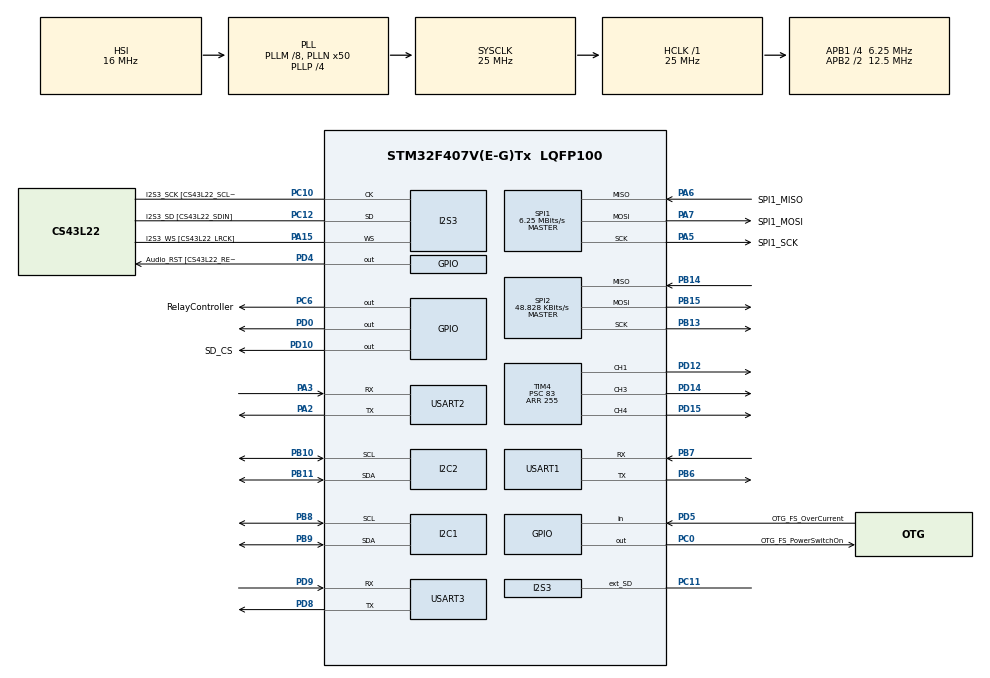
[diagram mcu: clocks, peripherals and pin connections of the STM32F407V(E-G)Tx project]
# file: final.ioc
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Dma.I2S3_EXT_RX.1.Direction=DMA_PERIPH_TO_MEMORY
Dma.I2S3_EXT_RX.1.FIFOMode=DMA_FIFOMODE_DISABLE
Dma.I2S3_EXT_RX.1.Instance=DMA1_Stream2
Dma.I2S3_EXT_RX.1.MemDataAlignment=DMA_MDATAALIGN_BYTE
Dma.I2S3_EXT_RX.1.MemInc=DMA_MINC_ENABLE
Dma.I2S3_EXT_RX.1.Mode=DMA_NORMAL
Dma.I2S3_EXT_RX.1.PeriphDataAlignment=DMA_PDATAALIGN_BYTE
Dma.I2S3_EXT_RX.1.PeriphInc=DMA_PINC_DISABLE
Dma.I2S3_EXT_RX.1.Priority=DMA_PRIORITY_LOW
Dma.Request0=SPI3_TX
Dma.Request1=I2S3_EXT_RX
Dma.Request2=USART3_RX
Dma.SPI3_TX.0.Direction=DMA_MEMORY_TO_PERIPH
Dma.SPI3_TX.0.FIFOMode=DMA_FIFOMODE_DISABLE
Dma.SPI3_TX.0.Instance=DMA1_Stream5
Dma.SPI3_TX.0.MemDataAlignment=DMA_MDATAALIGN_BYTE
Dma.SPI3_TX.0.MemInc=DMA_MINC_ENABLE
Dma.SPI3_TX.0.Mode=DMA_NORMAL
Dma.SPI3_TX.0.PeriphDataAlignment=DMA_PDATAALIGN_BYTE
Dma.SPI3_TX.0.PeriphInc=DMA_PINC_DISABLE
Dma.SPI3_TX.0.Priority=DMA_PRIORITY_LOW
Dma.USART3_RX.2.Direction=DMA_PERIPH_TO_MEMORY
Dma.USART3_RX.2.FIFOMode=DMA_FIFOMODE_DISABLE
Dma.USART3_RX.2.Instance=DMA1_Stream1
Dma.USART3_RX.2.MemDataAlignment=DMA_MDATAALIGN_BYTE
Dma.USART3_RX.2.MemInc=DMA_MINC_ENABLE
Dma.USART3_RX.2.Mode=DMA_NORMAL
Dma.USART3_RX.2.PeriphDataAlignment=DMA_PDATAALIGN_BYTE
Dma.USART3_RX.2.PeriphInc=DMA_PINC_DISABLE
Dma.USART3_RX.2.Priority=DMA_PRIORITY_LOW
I2S3.AudioFreq=I2S_AUDIOFREQ_16K
I2S3.ErrorAudioFreq=0.0 %
I2S3.FullDuplexMode=I2S_FULLDUPLEXMODE_ENABLE
I2S3.Instance=SPI$Index
I2S3.RealAudioFreq=16.0 KHz
I2S3.VirtualMode=I2S_MODE_MASTER
Mcu.Family=STM32F4
Mcu.Name=STM32F407V(E-G)Tx
Mcu.Package=LQFP100
NVIC.DMA1_Stream1_IRQn=true\:0\:0\:false\:false\:true\:false\:true\:true
NVIC.DMA1_Stream2_IRQn=true\:0\:0\:false\:false\:true\:false\:true\:true
NVIC.DMA1_Stream5_IRQn=true\:0\:0\:false\:false\:true\:false\:true\:true
NVIC.PriorityGroup=NVIC_PRIORITYGROUP_4
NVIC.TIM2_IRQn=true\:15\:0\:false\:false\:true\:false\:true\:true
NVIC.TimeBase=TIM2_IRQn
NVIC.TimeBaseIP=TIM2
NVIC.USART3_IRQn=true\:15\:0\:true\:false\:true\:true\:true\:true
PA10.GPIO_Label=OTG_FS_ID
PA10.GPIO_Mode=GPIO_MODE_AF_PP
PA10.GPIO_PuPd=GPIO_NOPULL
PA10.GPIO_Speed=GPIO_SPEED_FREQ_LOW
PA10.Signal=USB_OTG_FS_ID
PA13.GPIO_Label=SWDIO
PA13.Mode=Serial_Wire
PA13.Signal=SYS_JTMS-SWDIO
PA14.GPIO_Label=SWCLK
PA14.Mode=Serial_Wire
PA14.Signal=SYS_JTCK-SWCLK
PA15.GPIO_Label=I2S3_WS [CS43L22_LRCK]
PA15.GPIO_Mode=GPIO_MODE_AF_PP
PA15.GPIO_PuPd=GPIO_NOPULL
PA15.GPIO_Speed=GPIO_SPEED_FREQ_LOW
PA15.Mode=Full_Duplex_Master
PA15.Signal=I2S3_WS
PA2.Mode=Asynchronous
PA2.Signal=USART2_TX
PA3.Mode=Asynchronous
PA3.Signal=USART2_RX
PA5.GPIO_Label=SPI1_SCK
PA5.GPIO_Mode=GPIO_MODE_AF_PP
PA5.GPIO_PuPd=GPIO_NOPULL
PA5.GPIO_Speed=GPIO_SPEED_FREQ_LOW
PA5.Mode=Full_Duplex_Master
PA5.Signal=SPI1_SCK
PA6.GPIO_Label=SPI1_MISO
PA6.GPIO_Mode=GPIO_MODE_AF_PP
PA6.GPIO_PuPd=GPIO_NOPULL
PA6.GPIO_Speed=GPIO_SPEED_FREQ_LOW
PA6.Mode=Full_Duplex_Master
PA6.Signal=SPI1_MISO
PA7.GPIO_Label=SPI1_MOSI
PA7.GPIO_Mode=GPIO_MODE_AF_PP
PA7.GPIO_PuPd=GPIO_NOPULL
PA7.GPIO_Speed=GPIO_SPEED_FREQ_LOW
PA7.Mode=Full_Duplex_Master
PA7.Signal=SPI1_MOSI
PA9.GPIO_Label=VBUS_FS
PA9.GPIO_Mode=GPIO_MODE_INPUT
PA9.GPIO_PuPd=GPIO_NOPULL
PA9.Signal=USB_OTG_FS_VBUS
PB10.Mode=I2C
PB10.Signal=I2C2_SCL
PB11.Mode=I2C
PB11.Signal=I2C2_SDA
PB13.Mode=Full_Duplex_Master
PB13.Signal=SPI2_SCK
PB14.Mode=Full_Duplex_Master
PB14.Signal=SPI2_MISO
PB15.Mode=Full_Duplex_Master
PB15.Signal=SPI2_MOSI
PB3.GPIO_Label=SWO
PB3.Signal=SYS_JTDO-SWO
PB6.Mode=Asynchronous
PB6.Signal=USART1_TX
PB7.Mode=Asynchronous
PB7.Signal=USART1_RX
PB8.Mode=I2C
PB8.Signal=I2C1_SCL
PB9.Mode=I2C
PB9.Signal=I2C1_SDA
PC0.GPIO_Label=OTG_FS_PowerSwitchOn
PC0.GPIO_PuPd=GPIO_NOPULL
PC0.GPIO_Speed=GPIO_SPEED_FREQ_LOW
PC0.PinState=GPIO_PIN_SET
PC0.Signal=GPIO_Output
PC10.GPIO_Label=I2S3_SCK [CS43L22_SCLK]
PC10.GPIO_Mode=GPIO_MODE_AF_PP
PC10.GPIO_PuPd=GPIO_NOPULL
PC10.GPIO_Speed=GPIO_SPEED_FREQ_LOW
PC10.Mode=Full_Duplex_Master
PC10.Signal=I2S3_CK
PC11.Mode=Full_Duplex_Master
PC11.Signal=I2S3_ext_SD
PC12.GPIO_Label=I2S3_SD [CS43L22_SDIN]
PC12.GPIO_Mode=GPIO_MODE_AF_PP
PC12.GPIO_PuPd=GPIO_NOPULL
PC12.GPIO_Speed=GPIO_SPEED_FREQ_LOW
PC12.Mode=Full_Duplex_Master
PC12.Signal=I2S3_SD
PC14-OSC32_IN.GPIO_Label=PC14-OSC32_IN
PC14-OSC32_IN.Signal=RCC_OSC32_IN
PC15-OSC32_OUT.GPIO_Label=PC15-OSC32_OUT
PC15-OSC32_OUT.Signal=RCC_OSC32_OUT
PC3.GPIO_Label=PDM_OUT [MP45DT02_DOUT]
PC3.GPIO_Mode=GPIO_MODE_AF_PP
PC3.GPIO_PuPd=GPIO_NOPULL
PC3.GPIO_Speed=GPIO_SPEED_FREQ_LOW
PC3.Signal=I2S2_SD
PC6.GPIO_Label=RelayController
PC6.Signal=GPIO_Output
PC7.Signal=I2S3_MCK
PD0.Signal=GPIO_Output
PD10.GPIO_Label=SD_CS
PD10.Signal=GPIO_Output
PD12.Signal=S_TIM4_CH1
PD13.Signal=S_TIM4_CH2
PD14.Signal=S_TIM4_CH3
PD15.Signal=S_TIM4_CH4
PD4.GPIO_Label=Audio_RST [CS43L22_RESET]
PD4.GPIO_PuPd=GPIO_NOPULL
PD4.GPIO_Speed=GPIO_SPEED_FREQ_LOW
PD4.Signal=GPIO_Output
PD5.GPIO_Label=OTG_FS_OverCurrent
PD5.GPIO_Mode=GPIO_MODE_INPUT
PD5.GPIO_PuPd=GPIO_NOPULL
PD5.Signal=GPIO_Input
PD8.Mode=Asynchronous
PD8.Signal=USART3_TX
PD9.Mode=Asynchronous
PD9.Signal=USART3_RX
PE0.Signal=S_TIM4_ETR
PH0-OSC_IN.GPIO_Label=PH0-OSC_IN
PH0-OSC_IN.Signal=RCC_OSC_IN
PH1-OSC_OUT.GPIO_Label=PH1-OSC_OUT
PH1-OSC_OUT.Signal=RCC_OSC_OUT
ProjectManager.HeapSize=0x200
ProjectManager.StackSize=0x400
ProjectManager.TargetToolchain=STM32CubeIDE
RCC.48MHZClocksFreq_Value=14285714.285714285
RCC.AHBFreq_Value=25000000
RCC.APB1CLKDivider=RCC_HCLK_DIV4
RCC.APB1Freq_Value=6250000
RCC.APB1TimFreq_Value=12500000
RCC.APB2CLKDivider=RCC_HCLK_DIV2
RCC.APB2Freq_Value=12500000
RCC.APB2TimFreq_Value=25000000
RCC.CortexFreq_Value=25000000
RCC.HCLKFreq_Value=25000000
RCC.HSE_VALUE=8000000
RCC.HSI_VALUE=16000000
RCC.LSE_VALUE=32768
RCC.PLLM=8
RCC.PLLN=50
RCC.PLLP=RCC_PLLP_DIV4
RCC.PLLQ=7
RCC.SYSCLKFreq_VALUE=25000000
RCC.SYSCLKSource=RCC_SYSCLKSOURCE_PLLCLK
RCC.VCOOutputFreq_Value=100000000
RTC.Date=11
RTC.Format=RTC_FORMAT_BIN
RTC.Hours=21
RTC.Minutes=54
RTC.Month=RTC_MONTH_JUNE
RTC.WeekDay=RTC_WEEKDAY_WEDNESDAY
RTC.Year=25
SH.S_TIM4_CH1.0=TIM4_CH1,PWM Generation1 CH1
SH.S_TIM4_CH2.0=TIM4_CH2
SH.S_TIM4_CH3.0=TIM4_CH3,PWM Generation3 CH3
SH.S_TIM4_CH4.0=TIM4_CH4,PWM Generation4 CH4
SH.S_TIM4_ETR.0=TIM4_ETR
SPI1.CalculateBaudRate=6.25 MBits/s
SPI1.Direction=SPI_DIRECTION_2LINES
SPI1.Mode=SPI_MODE_MASTER
SPI1.VirtualType=VM_MASTER
SPI2.BaudRatePrescaler=SPI_BAUDRATEPRESCALER_128
SPI2.CalculateBaudRate=48.828 KBits/s
SPI2.Direction=SPI_DIRECTION_2LINES
SPI2.Mode=SPI_MODE_MASTER
SPI2.VirtualType=VM_MASTER
TIM4.Channel-PWM\ Generation1\ CH1=TIM_CHANNEL_1
TIM4.Channel-PWM\ Generation3\ CH3=TIM_CHANNEL_3
TIM4.Channel-PWM\ Generation4\ CH4=TIM_CHANNEL_4
TIM4.Period=255
TIM4.Prescaler=83
USART1.VirtualMode=VM_ASYNC
USART2.VirtualMode=VM_ASYNC
USART3.VirtualMode=VM_ASYNC
VP_FATFS_VS_Generic.Mode=User_defined
VP_RTC_VS_RTC_Activate.Mode=RTC_Enabled
VP_RTC_VS_RTC_Calendar.Mode=RTC_Calendar
VP_SYS_VS_tim2.Mode=TIM2
VP_TIM4_VS_ClockSourceINT.Mode=Internal
board=STM32F407G-DISC1

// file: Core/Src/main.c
/* USER CODE BEGIN Header */
/**
 ******************************************************************************
 * @file           : main.c
 * @brief          : Main program body
 ******************************************************************************
 * @attention
 *
 * <h2><center>&copy; Copyright (c) 2021 STMicroelectronics.
 * All rights reserved.</center></h2>
 *
 * This software component is licensed by ST under BSD 3-Clause license,
 * the "License"; You may not use this file except in compliance with the
 * License. You may obtain a copy of the License at:
 *                        opensource.org/licenses/BSD-3-Clause
 *
 ******************************************************************************
 */
/* USER CODE END Header */
#include "main.h"
#include "fatfs.h"

/* USER CODE BEGIN Includes */
#include <string.h>
#include <stdio.h>
#include <stdlib.h>
#include "FreeRTOS.h"
#include "task.h"
#include "semphr.h"
#include "queue.h"
#include "stm32f4xx_hal.h"

#include "msgHandler.h"
#include "shell.h"
#include "lcd2004.h"
#include "esp32.h"
#include "led.h"
#include "sd.h"
#include "log.h"
#include "player.h"
#include "timer.h"

/* USER CODE END Includes */

I2C_HandleTypeDef hi2c1;
I2C_HandleTypeDef hi2c2;

I2S_HandleTypeDef hi2s3;
DMA_HandleTypeDef hdma_spi3_tx;
DMA_HandleTypeDef hdma_i2s3_ext_rx;

RTC_HandleTypeDef hrtc;

SPI_HandleTypeDef hspi1;
SPI_HandleTypeDef hspi2;

TIM_HandleTypeDef htim4;

UART_HandleTypeDef huart1;
UART_HandleTypeDef huart2;
UART_HandleTypeDef huart3;
DMA_HandleTypeDef hdma_usart3_rx;

void SystemClock_Config(void);
static void MX_GPIO_Init(void);
static void MX_DMA_Init(void);
static void MX_SPI1_Init(void);
static void MX_USART2_UART_Init(void);
static void MX_USART3_UART_Init(void);
static void MX_I2C2_Init(void);
static void MX_USART1_UART_Init(void);
static void MX_I2C1_Init(void);
static void MX_TIM4_Init(void);
static void MX_SPI2_Init(void);
static void MX_I2S3_Init(void);
static void MX_RTC_Init(void);

/* USER CODE BEGIN 0 */

char NEC_reveice_data[100];

void NECHandler()
{
  while (1)
  {
    SendMsg(&huart2, "NECHandler Sending\n\r");
    if (ReceiveMsg(&huart1, NEC_reveice_data, 5) == HAL_OK)
    {
      SendMsg(&huart2, "Recv NEC code: %02X %02X %02X %02X %02X\r\n", NEC_reveice_data[0], NEC_reveice_data[1], NEC_reveice_data[2], NEC_reveice_data[3], NEC_reveice_data[4]); // TAG:Debug
    }
    vTaskDelay(pdMS_TO_TICKS(500));
  }
}

void MEMS_Write(uint8_t address, uint8_t data)
{
  HAL_GPIO_WritePin(GPIOE, GPIO_PIN_3, GPIO_PIN_RESET);
  HAL_SPI_Transmit(&hspi1, &address, 1, 10);
  HAL_SPI_Transmit(&hspi1, &data, 1, 10);
  HAL_GPIO_WritePin(GPIOE, GPIO_PIN_3, GPIO_PIN_SET);
}
void MEMS_Read(uint8_t address, uint8_t *data)
{
  address |= 0x80;
  HAL_GPIO_WritePin(GPIOE, GPIO_PIN_3, GPIO_PIN_RESET);
  HAL_SPI_Transmit(&hspi1, &address, 1, 10);
  HAL_SPI_Receive(&hspi1, data, 1, 10);
  HAL_GPIO_WritePin(GPIOE, GPIO_PIN_3, GPIO_PIN_SET);
}

#define AUDIO_BUFFER_SIZE 2048
uint16_t audio_buffer[AUDIO_BUFFER_SIZE];
void WM8978_Demo(void) {

}

/* USER CODE END 0 */

int main(void)
{

  /* MCU Configuration--------------------------------------------------------*/

  /* Reset of all peripherals, Initializes the Flash interface and the Systick. */
  HAL_Init();

  /* Configure the system clock */
  SystemClock_Config();

  /* Initialize all configured peripherals */
  MX_GPIO_Init();
  MX_DMA_Init();
  MX_SPI1_Init();
  MX_USART2_UART_Init();
  MX_USART3_UART_Init();
  MX_I2C2_Init();
  MX_USART1_UART_Init();
  MX_I2C1_Init();
  MX_TIM4_Init();
  MX_SPI2_Init();
  MX_FATFS_Init();
  MX_I2S3_Init();
  MX_RTC_Init();
  /* USER CODE BEGIN 2 */
  // init
  Timer_Init(&huart2);
  Log_Init(&huart2);
  MsgHandler_Init(&huart2);
  LCD2004_Init(&hi2c1, 0x4E, &huart2);
  LED_Init();
  SD_Init(&huart2);
  Shell_Init(&huart2);
  ESP32_Init(&huart3, &huart2);

//  my_WM8978_Init();
  //OS Resource
  Timer_OS_Resources_Init();
  Log_OS_Resources_Init();
  MsgHandler_OS_Resources_Init();
  LCD2004_OS_Resources_Init();
  LED_OS_Resources_Init();
  SD_OS_Resources_Init();
  Shell_OS_Resources_Init();
  ESP32_OS_Resources_Init();

//   WM8978_Palyer();
  //Task
  xTaskCreate(ESP32Sender, "ESP32Sender", 128, NULL, 1, NULL);
  xTaskCreate(ESP32Receiver, "ESP32Receiver", 256, NULL, 2, NULL);
  xTaskCreate(LCDHandler, "LCDHandler", 256, NULL, 1, NULL);
  xTaskCreate(ShellHandler, "ShellHandler", 512, NULL, 2, NULL);
  xTaskCreate(CommandReceiver, "CommandReceiver", 512, NULL, 3, NULL);
  xTaskCreate(LEDHandler, "LEDHandler", 128, NULL, 1, NULL);
  xTaskCreate(LEDTask, "LEDTask", 128, NULL, 1, NULL);
  xTaskCreate(SDParseHandler, "SDParseHandler", 512, NULL, 1, NULL);
  xTaskCreate(LogHandler, "LogHandler", 512, NULL, 3, NULL);
  xTaskCreate(SyncTimeHandler, "SyncTimeHandler", 512, NULL, 3, NULL);

//  xTaskCreate(WM8978_Demo, "WM8978_Demo", 512, NULL, 1, NULL);
  // xTaskCreate(NECHandler, "NECHandler", 128, NULL, 1, NULL);

  vTaskStartScheduler();
  /* USER CODE END 2 */

  /* Infinite loop */
  while (1)
  {

  }
}

void SystemClock_Config(void)
{
  RCC_OscInitTypeDef RCC_OscInitStruct = {0};
  RCC_ClkInitTypeDef RCC_ClkInitStruct = {0};

  /** Configure the main internal regulator output voltage
  */
  __HAL_RCC_PWR_CLK_ENABLE();
  __HAL_PWR_VOLTAGESCALING_CONFIG(PWR_REGULATOR_VOLTAGE_SCALE1);

  /** Initializes the RCC Oscillators according to the specified parameters
  * in the RCC_OscInitTypeDef structure.
  */
  RCC_OscInitStruct.OscillatorType = RCC_OSCILLATORTYPE_HSI|RCC_OSCILLATORTYPE_LSI;
  RCC_OscInitStruct.HSIState = RCC_HSI_ON;
  RCC_OscInitStruct.HSICalibrationValue = RCC_HSICALIBRATION_DEFAULT;
  RCC_OscInitStruct.LSIState = RCC_LSI_ON;
  RCC_OscInitStruct.PLL.PLLState = RCC_PLL_ON;
  RCC_OscInitStruct.PLL.PLLSource = RCC_PLLSOURCE_HSI;
  RCC_OscInitStruct.PLL.PLLM = 8;
  RCC_OscInitStruct.PLL.PLLN = 50;
  RCC_OscInitStruct.PLL.PLLP = RCC_PLLP_DIV4;
  RCC_OscInitStruct.PLL.PLLQ = 7;
  if (HAL_RCC_OscConfig(&RCC_OscInitStruct) != HAL_OK)
  {
    Error_Handler();
  }

  /** Initializes the CPU, AHB and APB buses clocks
  */
  RCC_ClkInitStruct.ClockType = RCC_CLOCKTYPE_HCLK|RCC_CLOCKTYPE_SYSCLK
                              |RCC_CLOCKTYPE_PCLK1|RCC_CLOCKTYPE_PCLK2;
  RCC_ClkInitStruct.SYSCLKSource = RCC_SYSCLKSOURCE_PLLCLK;
  RCC_ClkInitStruct.AHBCLKDivider = RCC_SYSCLK_DIV1;
  RCC_ClkInitStruct.APB1CLKDivider = RCC_HCLK_DIV4;
  RCC_ClkInitStruct.APB2CLKDivider = RCC_HCLK_DIV2;

  if (HAL_RCC_ClockConfig(&RCC_ClkInitStruct, FLASH_LATENCY_0) != HAL_OK)
  {
    Error_Handler();
  }
}

static void MX_I2C1_Init(void)
{

  hi2c1.Instance = I2C1;
  hi2c1.Init.ClockSpeed = 100000;
  hi2c1.Init.DutyCycle = I2C_DUTYCYCLE_2;
  hi2c1.Init.OwnAddress1 = 0;
  hi2c1.Init.AddressingMode = I2C_ADDRESSINGMODE_7BIT;
  hi2c1.Init.DualAddressMode = I2C_DUALADDRESS_DISABLE;
  hi2c1.Init.OwnAddress2 = 0;
  hi2c1.Init.GeneralCallMode = I2C_GENERALCALL_DISABLE;
  hi2c1.Init.NoStretchMode = I2C_NOSTRETCH_DISABLE;
  if (HAL_I2C_Init(&hi2c1) != HAL_OK)
  {
    Error_Handler();
  }

}

static void MX_I2C2_Init(void)
{

  hi2c2.Instance = I2C2;
  hi2c2.Init.ClockSpeed = 100000;
  hi2c2.Init.DutyCycle = I2C_DUTYCYCLE_2;
  hi2c2.Init.OwnAddress1 = 0;
  hi2c2.Init.AddressingMode = I2C_ADDRESSINGMODE_7BIT;
  hi2c2.Init.DualAddressMode = I2C_DUALADDRESS_DISABLE;
  hi2c2.Init.OwnAddress2 = 0;
  hi2c2.Init.GeneralCallMode = I2C_GENERALCALL_DISABLE;
  hi2c2.Init.NoStretchMode = I2C_NOSTRETCH_DISABLE;
  if (HAL_I2C_Init(&hi2c2) != HAL_OK)
  {
    Error_Handler();
  }

}

static void MX_I2S3_Init(void)
{

  hi2s3.Instance = SPI3;
  hi2s3.Init.Mode = I2S_MODE_MASTER_TX;
  hi2s3.Init.Standard = I2S_STANDARD_PHILIPS;
  hi2s3.Init.DataFormat = I2S_DATAFORMAT_16B;
  hi2s3.Init.MCLKOutput = I2S_MCLKOUTPUT_DISABLE;
  hi2s3.Init.AudioFreq = I2S_AUDIOFREQ_16K;
  hi2s3.Init.CPOL = I2S_CPOL_LOW;
  hi2s3.Init.ClockSource = I2S_CLOCK_PLL;
  hi2s3.Init.FullDuplexMode = I2S_FULLDUPLEXMODE_ENABLE;
  if (HAL_I2S_Init(&hi2s3) != HAL_OK)
  {
    Error_Handler();
  }

}

static void MX_RTC_Init(void)
{

  RTC_TimeTypeDef sTime = {0};
  RTC_DateTypeDef sDate = {0};

  /** Initialize RTC Only
  */
  hrtc.Instance = RTC;
  hrtc.Init.HourFormat = RTC_HOURFORMAT_24;
  hrtc.Init.AsynchPrediv = 127;
  hrtc.Init.SynchPrediv = 255;
  hrtc.Init.OutPut = RTC_OUTPUT_DISABLE;
  hrtc.Init.OutPutPolarity = RTC_OUTPUT_POLARITY_HIGH;
  hrtc.Init.OutPutType = RTC_OUTPUT_TYPE_OPENDRAIN;
  if (HAL_RTC_Init(&hrtc) != HAL_OK)
  {
    Error_Handler();
  }

  /** Initialize RTC and set the Time and Date
  */
  sTime.Hours = 21;
  sTime.Minutes = 54;
  sTime.Seconds = 0;
  sTime.DayLightSaving = RTC_DAYLIGHTSAVING_NONE;
  sTime.StoreOperation = RTC_STOREOPERATION_RESET;
  if (HAL_RTC_SetTime(&hrtc, &sTime, RTC_FORMAT_BIN) != HAL_OK)
  {
    Error_Handler();
  }
  sDate.WeekDay = RTC_WEEKDAY_WEDNESDAY;
  sDate.Month = RTC_MONTH_JUNE;
  sDate.Date = 11;
  sDate.Year = 25;

  if (HAL_RTC_SetDate(&hrtc, &sDate, RTC_FORMAT_BIN) != HAL_OK)
  {
    Error_Handler();
  }

}

static void MX_SPI1_Init(void)
{

  /* SPI1 parameter configuration*/
  hspi1.Instance = SPI1;
  hspi1.Init.Mode = SPI_MODE_MASTER;
  hspi1.Init.Direction = SPI_DIRECTION_2LINES;
  hspi1.Init.DataSize = SPI_DATASIZE_8BIT;
  hspi1.Init.CLKPolarity = SPI_POLARITY_LOW;
  hspi1.Init.CLKPhase = SPI_PHASE_1EDGE;
  hspi1.Init.NSS = SPI_NSS_SOFT;
  hspi1.Init.BaudRatePrescaler = SPI_BAUDRATEPRESCALER_2;
  hspi1.Init.FirstBit = SPI_FIRSTBIT_MSB;
  hspi1.Init.TIMode = SPI_TIMODE_DISABLE;
  hspi1.Init.CRCCalculation = SPI_CRCCALCULATION_DISABLE;
  hspi1.Init.CRCPolynomial = 10;
  if (HAL_SPI_Init(&hspi1) != HAL_OK)
  {
    Error_Handler();
  }

}

static void MX_SPI2_Init(void)
{

  /* SPI2 parameter configuration*/
  hspi2.Instance = SPI2;
  hspi2.Init.Mode = SPI_MODE_MASTER;
  hspi2.Init.Direction = SPI_DIRECTION_2LINES;
  hspi2.Init.DataSize = SPI_DATASIZE_8BIT;
  hspi2.Init.CLKPolarity = SPI_POLARITY_LOW;
  hspi2.Init.CLKPhase = SPI_PHASE_1EDGE;
  hspi2.Init.NSS = SPI_NSS_SOFT;
  hspi2.Init.BaudRatePrescaler = SPI_BAUDRATEPRESCALER_128;
  hspi2.Init.FirstBit = SPI_FIRSTBIT_MSB;
  hspi2.Init.TIMode = SPI_TIMODE_DISABLE;
  hspi2.Init.CRCCalculation = SPI_CRCCALCULATION_DISABLE;
  hspi2.Init.CRCPolynomial = 10;
  if (HAL_SPI_Init(&hspi2) != HAL_OK)
  {
    Error_Handler();
  }

}

static void MX_TIM4_Init(void)
{

  TIM_ClockConfigTypeDef sClockSourceConfig = {0};
  TIM_MasterConfigTypeDef sMasterConfig = {0};
  TIM_OC_InitTypeDef sConfigOC = {0};

  htim4.Instance = TIM4;
  htim4.Init.Prescaler = 83;
  htim4.Init.CounterMode = TIM_COUNTERMODE_UP;
  htim4.Init.Period = 255;
  htim4.Init.ClockDivision = TIM_CLOCKDIVISION_DIV1;
  htim4.Init.AutoReloadPreload = TIM_AUTORELOAD_PRELOAD_DISABLE;
  if (HAL_TIM_Base_Init(&htim4) != HAL_OK)
  {
    Error_Handler();
  }
  sClockSourceConfig.ClockSource = TIM_CLOCKSOURCE_INTERNAL;
  if (HAL_TIM_ConfigClockSource(&htim4, &sClockSourceConfig) != HAL_OK)
  {
    Error_Handler();
  }
  if (HAL_TIM_PWM_Init(&htim4) != HAL_OK)
  {
    Error_Handler();
  }
  sMasterConfig.MasterOutputTrigger = TIM_TRGO_RESET;
  sMasterConfig.MasterSlaveMode = TIM_MASTERSLAVEMODE_DISABLE;
  if (HAL_TIMEx_MasterConfigSynchronization(&htim4, &sMasterConfig) != HAL_OK)
  {
    Error_Handler();
  }
  sConfigOC.OCMode = TIM_OCMODE_PWM1;
  sConfigOC.Pulse = 0;
  sConfigOC.OCPolarity = TIM_OCPOLARITY_HIGH;
  sConfigOC.OCFastMode = TIM_OCFAST_DISABLE;
  if (HAL_TIM_PWM_ConfigChannel(&htim4, &sConfigOC, TIM_CHANNEL_1) != HAL_OK)
  {
    Error_Handler();
  }
  if (HAL_TIM_PWM_ConfigChannel(&htim4, &sConfigOC, TIM_CHANNEL_3) != HAL_OK)
  {
    Error_Handler();
  }
  if (HAL_TIM_PWM_ConfigChannel(&htim4, &sConfigOC, TIM_CHANNEL_4) != HAL_OK)
  {
    Error_Handler();
  }
  HAL_TIM_MspPostInit(&htim4);

}

static void MX_USART1_UART_Init(void)
{

  huart1.Instance = USART1;
  huart1.Init.BaudRate = 115200;
  huart1.Init.WordLength = UART_WORDLENGTH_8B;
  huart1.Init.StopBits = UART_STOPBITS_1;
  huart1.Init.Parity = UART_PARITY_NONE;
  huart1.Init.Mode = UART_MODE_TX_RX;
  huart1.Init.HwFlowCtl = UART_HWCONTROL_NONE;
  huart1.Init.OverSampling = UART_OVERSAMPLING_16;
  if (HAL_UART_Init(&huart1) != HAL_OK)
  {
    Error_Handler();
  }

}

static void MX_USART2_UART_Init(void)
{

  huart2.Instance = USART2;
  huart2.Init.BaudRate = 115200;
  huart2.Init.WordLength = UART_WORDLENGTH_8B;
  huart2.Init.StopBits = UART_STOPBITS_1;
  huart2.Init.Parity = UART_PARITY_NONE;
  huart2.Init.Mode = UART_MODE_TX_RX;
  huart2.Init.HwFlowCtl = UART_HWCONTROL_NONE;
  huart2.Init.OverSampling = UART_OVERSAMPLING_16;
  if (HAL_UART_Init(&huart2) != HAL_OK)
  {
    Error_Handler();
  }

}

static void MX_USART3_UART_Init(void)
{

  huart3.Instance = USART3;
  huart3.Init.BaudRate = 115200;
  huart3.Init.WordLength = UART_WORDLENGTH_8B;
  huart3.Init.StopBits = UART_STOPBITS_1;
  huart3.Init.Parity = UART_PARITY_NONE;
  huart3.Init.Mode = UART_MODE_TX_RX;
  huart3.Init.HwFlowCtl = UART_HWCONTROL_NONE;
  huart3.Init.OverSampling = UART_OVERSAMPLING_16;
  if (HAL_UART_Init(&huart3) != HAL_OK)
  {
    Error_Handler();
  }

}

static void MX_DMA_Init(void)
{

  /* DMA controller clock enable */
  __HAL_RCC_DMA1_CLK_ENABLE();

  /* DMA interrupt init */
  /* DMA1_Stream1_IRQn interrupt configuration */
  HAL_NVIC_SetPriority(DMA1_Stream1_IRQn, 0, 0);
  HAL_NVIC_EnableIRQ(DMA1_Stream1_IRQn);
  /* DMA1_Stream2_IRQn interrupt configuration */
  HAL_NVIC_SetPriority(DMA1_Stream2_IRQn, 0, 0);
  HAL_NVIC_EnableIRQ(DMA1_Stream2_IRQn);
  /* DMA1_Stream5_IRQn interrupt configuration */
  HAL_NVIC_SetPriority(DMA1_Stream5_IRQn, 0, 0);
  HAL_NVIC_EnableIRQ(DMA1_Stream5_IRQn);

}

static void MX_GPIO_Init(void)
{
  GPIO_InitTypeDef GPIO_InitStruct = {0};

  /* GPIO Ports Clock Enable */
  __HAL_RCC_GPIOC_CLK_ENABLE();
  __HAL_RCC_GPIOH_CLK_ENABLE();
  __HAL_RCC_GPIOA_CLK_ENABLE();
  __HAL_RCC_GPIOB_CLK_ENABLE();
  __HAL_RCC_GPIOD_CLK_ENABLE();
  __HAL_RCC_GPIOE_CLK_ENABLE();

  /*Configure GPIO pin Output Level */
  HAL_GPIO_WritePin(OTG_FS_PowerSwitchOn_GPIO_Port, OTG_FS_PowerSwitchOn_Pin, GPIO_PIN_SET);

  /*Configure GPIO pin Output Level */
  HAL_GPIO_WritePin(GPIOD, SD_CS_Pin|GPIO_PIN_0|Audio_RST_Pin, GPIO_PIN_RESET);

  /*Configure GPIO pin Output Level */
  HAL_GPIO_WritePin(RelayController_GPIO_Port, RelayController_Pin, GPIO_PIN_RESET);

  /*Configure GPIO pins : OTG_FS_PowerSwitchOn_Pin RelayController_Pin */
  GPIO_InitStruct.Pin = OTG_FS_PowerSwitchOn_Pin|RelayController_Pin;
  GPIO_InitStruct.Mode = GPIO_MODE_OUTPUT_PP;
  GPIO_InitStruct.Pull = GPIO_NOPULL;
  GPIO_InitStruct.Speed = GPIO_SPEED_FREQ_LOW;
  HAL_GPIO_Init(GPIOC, &GPIO_InitStruct);

  /*Configure GPIO pin : PDM_OUT_Pin */
  GPIO_InitStruct.Pin = PDM_OUT_Pin;
  GPIO_InitStruct.Mode = GPIO_MODE_AF_PP;
  GPIO_InitStruct.Pull = GPIO_NOPULL;
  GPIO_InitStruct.Speed = GPIO_SPEED_FREQ_LOW;
  GPIO_InitStruct.Alternate = GPIO_AF5_SPI2;
  HAL_GPIO_Init(PDM_OUT_GPIO_Port, &GPIO_InitStruct);

  /*Configure GPIO pins : SD_CS_Pin PD0 Audio_RST_Pin */
  GPIO_InitStruct.Pin = SD_CS_Pin|GPIO_PIN_0|Audio_RST_Pin;
  GPIO_InitStruct.Mode = GPIO_MODE_OUTPUT_PP;
  GPIO_InitStruct.Pull = GPIO_NOPULL;
  GPIO_InitStruct.Speed = GPIO_SPEED_FREQ_LOW;
  HAL_GPIO_Init(GPIOD, &GPIO_InitStruct);

  /*Configure GPIO pin : VBUS_FS_Pin */
  GPIO_InitStruct.Pin = VBUS_FS_Pin;
  GPIO_InitStruct.Mode = GPIO_MODE_INPUT;
  GPIO_InitStruct.Pull = GPIO_NOPULL;
  HAL_GPIO_Init(VBUS_FS_GPIO_Port, &GPIO_InitStruct);

  /*Configure GPIO pin : OTG_FS_ID_Pin */
  GPIO_InitStruct.Pin = OTG_FS_ID_Pin;
  GPIO_InitStruct.Mode = GPIO_MODE_AF_PP;
  GPIO_InitStruct.Pull = GPIO_NOPULL;
  GPIO_InitStruct.Speed = GPIO_SPEED_FREQ_LOW;
  GPIO_InitStruct.Alternate = GPIO_AF10_OTG_FS;
  HAL_GPIO_Init(OTG_FS_ID_GPIO_Port, &GPIO_InitStruct);

  /*Configure GPIO pin : OTG_FS_OverCurrent_Pin */
  GPIO_InitStruct.Pin = OTG_FS_OverCurrent_Pin;
  GPIO_InitStruct.Mode = GPIO_MODE_INPUT;
  GPIO_InitStruct.Pull = GPIO_NOPULL;
  HAL_GPIO_Init(OTG_FS_OverCurrent_GPIO_Port, &GPIO_InitStruct);

}

void HAL_TIM_PeriodElapsedCallback(TIM_HandleTypeDef *htim)
{
  if (htim->Instance == TIM2)
  {
    HAL_IncTick();
  }
}

void Error_Handler(void)
{
  __disable_irq();
  while (1)
  {
  }
}
